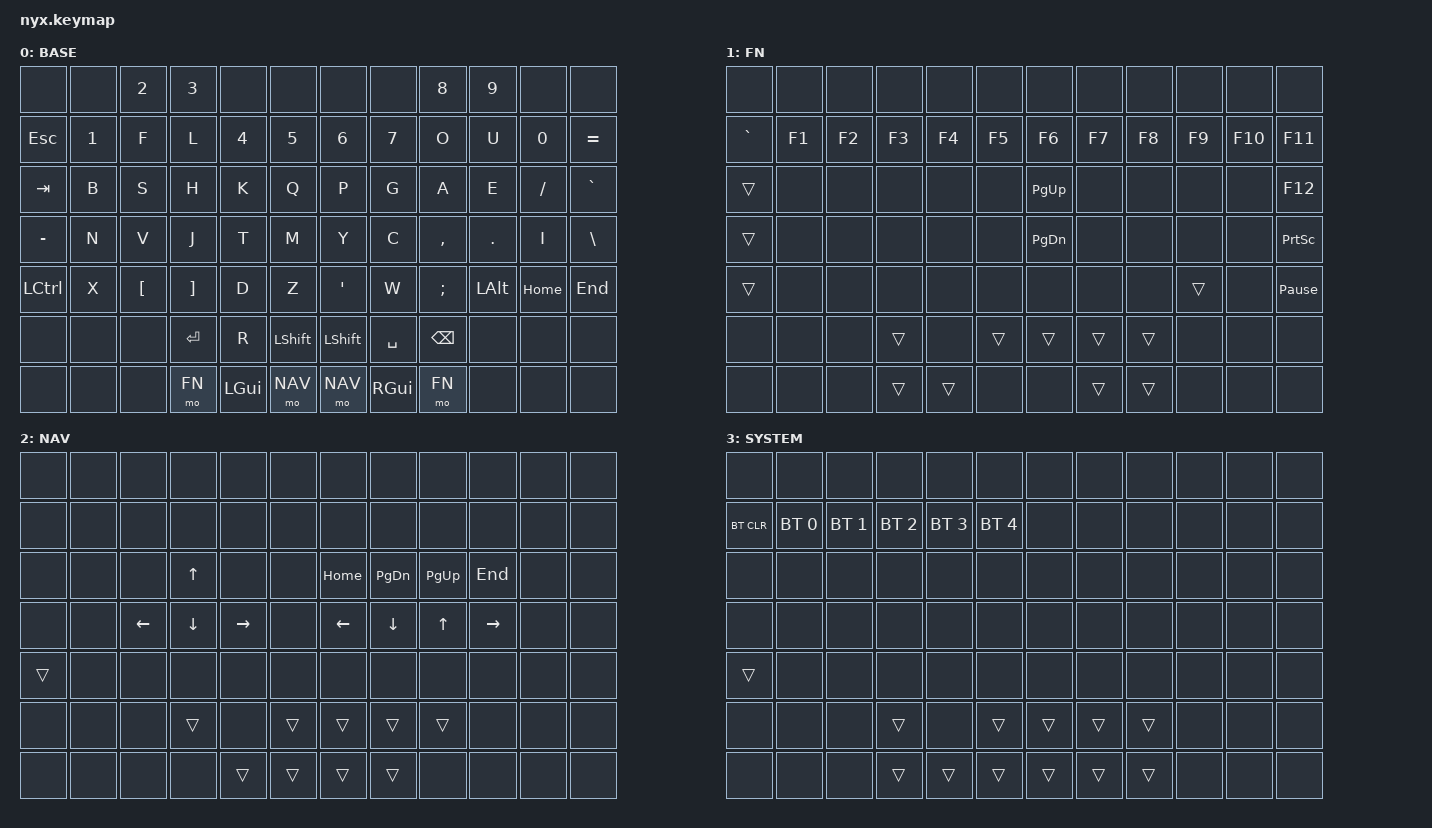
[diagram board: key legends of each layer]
/*
 * Copyright (c) 2024 The ZMK Contributors
 * SPDX-License-Identifier: MIT
 *
 * Nyx Split Keyboard - Keymap Configuration
 * =========================================
 * This keymap implements a custom ergonomic layout optimized for the Nyx 7×12 split keyboard.
 * The layout prioritizes thumb usage, symmetric layer access, and comfortable typing patterns.
 *
 * Layout Philosophy:
 * - Custom alphabetic layout (not QWERTY) optimized for English text frequency
 * - Thumb-centric design with Space, Shift, Enter, and layer keys on thumb clusters
 * - Symmetric layer switching allowing either hand to access all layers
 * - Reserved positions (using &none) for future expansion
 *
 * Physical Layout Overview:
 * ╔═══════════════════════════════════════════╗         ╔═══════════════════════════════════════════╗
 * ║          LEFT HAND (42 keys)              ║         ║          RIGHT HAND (42 keys)             ║
 * ║     6 columns × 7 rows                    ║         ║     6 columns × 7 rows                    ║
 * ║     Columns 0-5 in matrix                 ║         ║     Columns 6-11 in matrix                ║
 * ╚═══════════════════════════════════════════╝         ╚═══════════════════════════════════════════╝
 */

#include <behaviors.dtsi>
#include <dt-bindings/zmk/keys.h>
#include <dt-bindings/zmk/bt.h>
#include <dt-bindings/zmk/outputs.h>

/* Layer Definitions
 * =================
 * We use numeric constants for better readability in layer-tap and momentary bindings
 */
#define DEFAULT 0
#define FN      1
#define NAV     2
#define SYSTEM  3

/ {
    /* Conditional Layers
     * ==================
     * When both FN and NAV are active, automatically activate SYSTEM layer
     * This provides access to bluetooth, output selection, and system controls
     */
    conditional_layers {
        compatible = "zmk,conditional-layers";
        tri_layer {
            if-layers = <FN NAV>;
            then-layer = <SYSTEM>;
        };
    };

    /* Keymap Configuration
     * ===================
     * The keymap defines what each physical key does in each layer.
     * The binding order must match the matrix transform mapping exactly.
     */
    keymap {
        compatible = "zmk,keymap";

        /* Layer 0: Default (Base) Layer
         * =============================
         * Custom alphabetic layout with modified number row
         * 
         *        COL0   COL1   COL2   COL3   COL4   COL5           COL6   COL7   COL8   COL9   COL10  COL11
         *      ╔══════╤══════╤══════╤══════╤══════╤══════╗       ╔══════╤══════╤══════╤══════╤══════╤══════╗
         * ROW0 ║  ·   │  ·   │  2   │  3   │  ·   │  ·   ║       ║  ·   │  ·   │  8   │  9   │  ·   │  ·   ║
         *      ╟──────┼──────┼──────┼──────┼──────┼──────╢       ╟──────┼──────┼──────┼──────┼──────┼──────╢
         * ROW1 ║ ESC  │  1   │  F   │  L   │  4   │  5   ║       ║  6   │  7   │  O   │  U   │  0   │  =   ║
         *      ╟──────┼──────┼──────┼──────┼──────┼──────╢       ╟──────┼──────┼──────┼──────┼──────┼──────╢
         * ROW2 ║ TAB  │  B   │  S   │  H   │  K   │  Q   ║       ║  P   │  G   │  A   │  E   │  /   │  '   ║
         *      ╟──────┼──────┼──────┼──────┼──────┼──────╢       ╟──────┼──────┼──────┼──────┼──────┼──────╢
         * ROW3 ║  -   │  N   │  V   │  J   │  T   │  M   ║       ║  Y   │  C   │  ,   │  .   │  I   │  \   ║
         *      ╟──────┼──────┼──────┼──────┼──────┼──────╢       ╟──────┼──────┼──────┼──────┼──────┼──────╢
         * ROW4 ║ CTRL │  X   │  [   │  ]   │  D   │  Z   ║       ║  '   │  W   │  ;   │ Alt  │ Home │ End  ║
         *      ╟──────┼──────┼──────┼──────┼──────┼──────╢       ╟──────┼──────┼──────┼──────┼──────┼──────╢
         * ROW5 ║  ·   │  ·   │  ·   │Enter │  R   │Shift ║       ║Shift │Space │Bkspce│  ·   │  ·   │  ·   ║
         *      ╟──────┼──────┼──────┼──────┼──────┼──────╢       ╟──────┼──────┼──────┼──────┼──────┼──────╢
         * ROW6 ║  ·   │  ·   │  ·   │ FN   │ GUI  │ NAV  ║       ║ NAV  │ GUI  │ FN   │  ·   │  ·   │  ·   ║
         *      ╚══════╧══════╧══════╧══════╧══════╧══════╝       ╚══════╧══════╧══════╧══════╧══════╧══════╝
         *
         * Legend: · = none (no key binding)
         */
        default_layer {
            display-name = "BASE";
            bindings = <
                /* Row 0 - Partial Numbers */
                &none      &none     &kp N2      &kp N3      &none      &none           &none          &none       &kp N8       &kp N9      &none        &none
                /* Row 1 - Remaining Numbers + Upper Alpha */
                &kp ESC    &kp N1    &kp F       &kp L       &kp N4     &kp N5          &kp N6         &kp N7      &kp O        &kp U       &kp N0       &kp EQUAL
                /* Row 2 - Upper Alpha */
                &kp TAB    &kp B     &kp S       &kp H       &kp K      &kp Q           &kp P          &kp G       &kp A        &kp E       &kp SLASH    &kp GRAVE
                /* Row 3 - Home Row */
                &kp MINUS  &kp N     &kp V       &kp J       &kp T      &kp M           &kp Y          &kp C       &kp COMMA    &kp DOT     &kp I        &kp BACKSLASH
                /* Row 4 - Lower Alpha with Brackets */
                &kp LCTRL  &kp X     &kp LBKT    &kp RBKT    &kp D      &kp Z           &kp APOSTROPHE &kp W       &kp SEMI     &kp LALT    &kp HOME     &kp END
                /* Row 5 - Thumb Row 1 */
                &none      &none     &none       &kp ENTER   &kp R      &kp LSHIFT      &kp LSHIFT     &kp SPACE   &kp BACKSPACE   &none       &none        &none
                /* Row 6 - Thumb Row 2 */
                &none      &none     &none       &mo FN      &kp LGUI   &mo NAV         &mo NAV        &kp RGUI    &mo FN       &none       &none        &none
            >;
        };

        /* Layer 1: Function Layer
         * =======================
         * Function keys, media controls, and additional symbols
         * 
         *        COL0   COL1   COL2   COL3   COL4   COL5           COL6   COL7   COL8   COL9   COL10  COL11
         *      ╔══════╤══════╤══════╤══════╤══════╤══════╗       ╔══════╤══════╤══════╤══════╤══════╤══════╗
         * ROW0 ║ XXX  │ XXX  │ XXX  │ XXX  │ XXX  │ XXX  ║       ║ XXX  │ XXX  │ XXX  │ XXX  │ XXX  │ XXX  ║
         *      ╟──────┼──────┼──────┼──────┼──────┼──────╢       ╟──────┼──────┼──────┼──────┼──────┼──────╢
         * ROW1 ║  `   │ F1   │ F2   │ F3   │ F4   │ F5   ║       ║ F6   │ F7   │ F8   │ F9   │ F10  │ F11  ║
         *      ╟──────┼──────┼──────┼──────┼──────┼──────╢       ╟──────┼──────┼──────┼──────┼──────┼──────╢
         * ROW2 ║ ___  │ XXX  │ XXX  │ XXX  │ XXX  │ XXX  ║       ║ PgUp │ XXX  │ XXX  │ XXX  │ XXX  │ F12  ║
         *      ╟──────┼──────┼──────┼──────┼──────┼──────╢       ╟──────┼──────┼──────┼──────┼──────┼──────╢
         * ROW3 ║ ___  │ XXX  │ XXX  │ XXX  │ XXX  │ XXX  ║       ║ PgDn │ XXX  │ XXX  │ XXX  │ XXX  │PrtSc ║
         *      ╟──────┼──────┼──────┼──────┼──────┼──────╢       ╟──────┼──────┼──────┼──────┼──────┼──────╢
         * ROW4 ║ ___  │ XXX  │ XXX  │ XXX  │ XXX  │ XXX  ║       ║ XXX  │ XXX  │ XXX  │ ___  │ XXX  │Pause ║
         *      ╟──────┼──────┼──────┼──────┼──────┼──────╢       ╟──────┼──────┼──────┼──────┼──────┼──────╢
         * ROW5 ║ XXX  │ XXX  │ XXX  │ ___  │ XXX  │ ___  ║       ║ ___  │ ___  │ ___  │ XXX  │ XXX  │ XXX  ║
         *      ╟──────┼──────┼──────┼──────┼──────┼──────╢       ╟──────┼──────┼──────┼──────┼──────┼──────╢
         * ROW6 ║ XXX  │ XXX  │ XXX  │ ___  │ ___  │ XXX  ║       ║ XXX  │ ___  │ ___  │ XXX  │ XXX  │ XXX  ║
         *      ╚══════╧══════╧══════╧══════╧══════╧══════╝       ╚══════╧══════╧══════╧══════╧══════╧══════╝
         * 
         * Legend: ___ = transparent (pass-through), XXX = blocked
         */
        function_layer {
            display-name = "FN";
            bindings = <
                /* Row 0 */
                &none      &none     &none       &none       &none      &none           &none          &none       &none        &none       &none        &none
                /* Row 1 - Function Keys */
                &kp GRAVE  &kp F1    &kp F2      &kp F3      &kp F4     &kp F5          &kp F6         &kp F7      &kp F8       &kp F9      &kp F10      &kp F11
                /* Row 2 */
                &trans     &none     &none       &none       &none      &none           &kp PG_UP      &none       &none        &none       &none        &kp F12
                /* Row 3 */
                &trans     &none     &none       &none       &none      &none           &kp PG_DN      &none       &none        &none       &none        &kp PSCRN
                /* Row 4 */
                &trans     &none     &none       &none       &none      &none           &none          &none       &none        &trans      &none        &kp PAUSE_BREAK
                /* Row 5 */
                &none      &none     &none       &trans      &none      &trans          &trans         &trans      &trans       &none       &none        &none
                /* Row 6 */
                &none      &none     &none       &trans      &trans     &none           &none          &trans      &trans       &none       &none        &none
            >;
        };

        /* Layer 2: Navigation Layer
         * =========================
         * Arrow keys, navigation cluster, and cursor controls
         * 
         *        COL0   COL1   COL2   COL3   COL4   COL5           COL6   COL7   COL8   COL9   COL10  COL11
         *      ╔══════╤══════╤══════╤══════╤══════╤══════╗       ╔══════╤══════╤══════╤══════╤══════╤══════╗
         * ROW0 ║ XXX  │ XXX  │ XXX  │ XXX  │ XXX  │ XXX  ║       ║ XXX  │ XXX  │ XXX  │ XXX  │ XXX  │ XXX  ║
         *      ╟──────┼──────┼──────┼──────┼──────┼──────╢       ╟──────┼──────┼──────┼──────┼──────┼──────╢
         * ROW1 ║ XXX  │ XXX  │ XXX  │ XXX  │ XXX  │ XXX  ║       ║ XXX  │ XXX  │ XXX  │ XXX  │ XXX  │ XXX  ║
         *      ╟──────┼──────┼──────┼──────┼──────┼──────╢       ╟──────┼──────┼──────┼──────┼──────┼──────╢
         * ROW2 ║ XXX  │ XXX  │ XXX  │  ↑   │ XXX  │ XXX  ║       ║ Home │ PgDn │ PgUp │ End  │ XXX  │ XXX  ║
         *      ╟──────┼──────┼──────┼──────┼──────┼──────╢       ╟──────┼──────┼──────┼──────┼──────┼──────╢
         * ROW3 ║ XXX  │ XXX  │  ←   │  ↓   │  →   │ XXX  ║       ║  ←   │  ↓   │  ↑   │  →   │ XXX  │ XXX  ║
         *      ╟──────┼──────┼──────┼──────┼──────┼──────╢       ╟──────┼──────┼──────┼──────┼──────┼──────╢
         * ROW4 ║ ___  │ XXX  │ XXX  │ XXX  │ XXX  │ XXX  ║       ║ XXX  │ XXX  │ XXX  │ XXX  │ XXX  │ XXX  ║
         *      ╟──────┼──────┼──────┼──────┼──────┼──────╢       ╟──────┼──────┼──────┼──────┼──────┼──────╢
         * ROW5 ║ XXX  │ XXX  │ XXX  │ ___  │ XXX  │ ___  ║       ║ ___  │ ___  │ ___  │ XXX  │ XXX  │ XXX  ║
         *      ╟──────┼──────┼──────┼──────┼──────┼──────╢       ╟──────┼──────┼──────┼──────┼──────┼──────╢
         * ROW6 ║ XXX  │ XXX  │ XXX  │ XXX  │ ___  │ ___  ║       ║ ___  │ ___  │ XXX  │ XXX  │ XXX  │ XXX  ║
         *      ╚══════╧══════╧══════╧══════╧══════╧══════╝       ╚══════╧══════╧══════╧══════╧══════╧══════╝
         */
        navigation_layer {
            display-name = "NAV";
            bindings = <
                /* Row 0 */
                &none      &none     &none       &none       &none      &none           &none          &none       &none        &none       &none        &none
                /* Row 1 */
                &none      &none     &none       &none       &none      &none           &none          &none       &none        &none       &none        &none
                /* Row 2 - Navigation */
                &none      &none     &none       &kp UP      &none      &none           &kp HOME       &kp PG_DN   &kp PG_UP    &kp END     &none        &none
                /* Row 3 - Arrow Keys */
                &none      &none     &kp LEFT    &kp DOWN    &kp RIGHT  &none           &kp LEFT       &kp DOWN    &kp UP       &kp RIGHT   &none        &none
                /* Row 4 */
                &trans     &none     &none       &none       &none      &none           &none          &none       &none        &none       &none        &none
                /* Row 5 */
                &none      &none     &none       &trans      &none      &trans          &trans         &trans      &trans       &none       &none        &none
                /* Row 6 */
                &none      &none     &none       &none       &trans     &trans          &trans         &trans      &none        &none       &none        &none
            >;
        };

        /* Layer 3: System Layer
         * =====================
         * Bluetooth controls, output selection, and system functions
         * Activated by holding both FN and NAV layers simultaneously
         * 
         *        COL0   COL1   COL2   COL3   COL4   COL5           COL6   COL7   COL8   COL9   COL10  COL11
         *      ╔══════╤══════╤══════╤══════╤══════╤══════╗       ╔══════╤══════╤══════╤══════╤══════╤══════╗
         * ROW0 ║ XXX  │ XXX  │ XXX  │ XXX  │ XXX  │ XXX  ║       ║ XXX  │ XXX  │ XXX  │ XXX  │ XXX  │ XXX  ║
         *      ╟──────┼──────┼──────┼──────┼──────┼──────╢       ╟──────┼──────┼──────┼──────┼──────┼──────╢
         * ROW1 ║BTCLR │ BT0  │ BT1  │ BT2  │ BT3  │ BT4  ║       ║ XXX  │ XXX  │ XXX  │ XXX  │ XXX  │ XXX  ║
         *      ╟──────┼──────┼──────┼──────┼──────┼──────╢       ╟──────┼──────┼──────┼──────┼──────┼──────╢
         * ROW2 ║ XXX  │ XXX  │ XXX  │ XXX  │ XXX  │ XXX  ║       ║ XXX  │ XXX  │ XXX  │ XXX  │ XXX  │ XXX  ║
         *      ╟──────┼──────┼──────┼──────┼──────┼──────╢       ╟──────┼──────┼──────┼──────┼──────┼──────╢
         * ROW3 ║ XXX  │ XXX  │ XXX  │ XXX  │ XXX  │ XXX  ║       ║ XXX  │ XXX  │ XXX  │ XXX  │ XXX  │ XXX  ║
         *      ╟──────┼──────┼──────┼──────┼──────┼──────╢       ╟──────┼──────┼──────┼──────┼──────┼──────╢
         * ROW4 ║ ___  │ XXX  │ XXX  │ XXX  │ XXX  │ XXX  ║       ║ XXX  │ XXX  │ XXX  │ XXX  │ XXX  │ XXX  ║
         *      ╟──────┼──────┼──────┼──────┼──────┼──────╢       ╟──────┼──────┼──────┼──────┼──────┼──────╢
         * ROW5 ║ XXX  │ XXX  │ XXX  │ ___  │ XXX  │ ___  ║       ║ ___  │ ___  │ ___  │ XXX  │ XXX  │ XXX  ║
         *      ╟──────┼──────┼──────┼──────┼──────┼──────╢       ╟──────┼──────┼──────┼──────┼──────┼──────╢
         * ROW6 ║ XXX  │ XXX  │ XXX  │ ___  │ ___  │ ___  ║       ║ ___  │ ___  │ ___  │ XXX  │ XXX  │ XXX  ║
         *      ╚══════╧══════╧══════╧══════╧══════╧══════╝       ╚══════╧══════╧══════╧══════╧══════╧══════╝
         * 
         * BT0-BT4: Bluetooth profiles for connecting multiple devices
         * BTCLR: Clear current bluetooth profile
         */
        system_layer {
            display-name = "SYSTEM";
            bindings = <
                /* Row 0 */
                &none      &none     &none       &none       &none      &none           &none          &none       &none        &none       &none        &none
                /* Row 1 - Bluetooth Controls */
                &bt BT_CLR &bt BT_SEL 0 &bt BT_SEL 1 &bt BT_SEL 2 &bt BT_SEL 3 &bt BT_SEL 4    &none          &none       &none        &none       &none        &none
                /* Row 2 */
                &none      &none     &none       &none       &none      &none           &none          &none       &none        &none       &none        &none
                /* Row 3 */
                &none      &none     &none       &none       &none      &none           &none          &none       &none        &none       &none        &none
                /* Row 4 */
                &trans     &none     &none       &none       &none      &none           &none          &none       &none        &none       &none        &none
                /* Row 5 */
                &none      &none     &none       &trans      &none      &trans          &trans         &trans      &trans       &none       &none        &none
                /* Row 6 */
                &none      &none     &none       &trans      &trans     &trans          &trans         &trans      &trans       &none       &none        &none
            >;
        };
    };
};

/* ═══════════════════════════════════════════════════════════════════════════════════════════════════════
 *                                        CONFIGURATION NOTES
 * ═══════════════════════════════════════════════════════════════════════════════════════════════════════
 *
 * EXTENDING THIS CONFIGURATION:
 * 
 * 1. Adding New Layers:
 *    - Define a new layer block within the keymap section
 *    - Update layer switching keys (&mo, &lt, &tog) as needed
 *    - Consider the cognitive load of multiple layers
 *
 * 2. Customizing Behaviors:
 *    - Add custom behaviors in a behaviors {} block
 *    - Common customizations: tap-dance, hold-tap, combos
 *    - Reference ZMK documentation for behavior parameters
 *
 * 3. Hardware Integration:
 *    - RGB underglow: Add rgb_underglow configuration
 *    - Encoders: Define encoder mappings per layer
 *    - OLED displays: Configure display content and behavior
 *
 * 4. Optimization Tips:
 *    - Use &trans to maintain key accessibility across layers
 *    - Place frequently used keys on stronger fingers
 *    - Consider hand alternation for common key sequences
 *    - Test typing patterns with tools like MonkeyType
 *
 * TROUBLESHOOTING:
 * - Ensure all rows have exactly 12 bindings (6 per side)
 * - Check for missing semicolons in binding lists
 * - Verify include files match your ZMK version
 * - Use 'west build' with verbose flag for detailed errors
 *
 * ═══════════════════════════════════════════════════════════════════════════════════════════════════════ */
